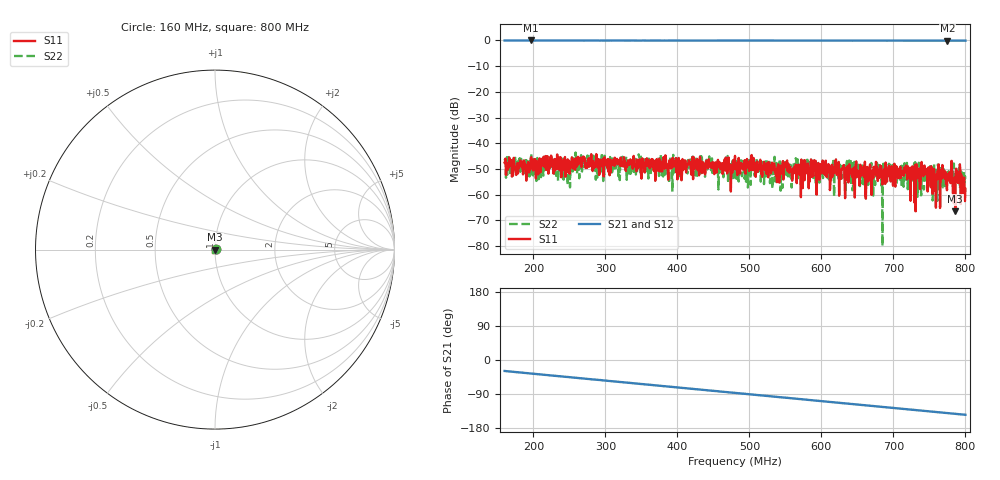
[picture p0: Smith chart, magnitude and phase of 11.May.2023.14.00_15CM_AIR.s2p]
!Keysight Technologies N9950B: A.12.38
!Date: Thursday, 11 May 2023 14:01:40
!Timezone: (UTC-06:00) Central Time (US & Canada)
!Model: N9950B
!Serial: MY61131330
!GPS Latitude:
!GPS Longitude:
!GPS TimeStamp: 0001-01-01 00:00:00Z
!GPS Seconds Since Last Read: 0
!CHECKSUM:0283810886
!Correction: S11(ON U)S21(ON U)S12(ON U)S22(ON U)
!S2P File: Measurements:S11,S21,S12,S22:
# Hz S DB R 50
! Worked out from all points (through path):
!   1001 points, 160 MHz to 800 MHz, reference 50 ohm
!   highest |S21| = -0.01 dB at 196.5 MHz (marker M1); lowest = -0.1 dB at 775 MHz (marker M2)
!   group delay of S21, straight-line fit = 501 ps
!   lowest |S11| = -66.5 dB at 785.9 MHz (marker M3), VSWR 1.00, Z = 50 - j0.00743 ohm
!   |S11| at or under -10 dB: start of sweep to end of sweep
!   |S22| runs from -80.0 to -43.6 dB; largest |S21 - S12| = 0.0056
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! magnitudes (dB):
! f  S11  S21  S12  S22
! 160 MHz  -47.5  0.0  0.0  -46.7
! 196.5 MHz  -45.8  0.0  0.0  -45.3
! 266.9 MHz  -49.3  0.0  -0.1  -51.4
! 373.8 MHz  -47.0  -0.1  -0.1  -45.5
! 442.9 MHz  -49.7  0.0  -0.1  -48.2
! 480 MHz  -44.9  -0.1  -0.1  -53.8
! 586.9 MHz  -46.8  -0.1  -0.1  -50.2
! 648.3 MHz  -47.0  -0.1  -0.1  -50.4
! 662.4 MHz  -53.3  -0.1  -0.1  -56.1
! 673.3 MHz  -50.1  -0.1  -0.1  -50.1
! 678.4 MHz  -54.7  -0.1  -0.1  -51.0
! 684.8 MHz  -56.0  -0.1  -0.1  -80.0
! 693.8 MHz  -48.7  -0.1  -0.1  -48.0
! 720 MHz  -49.0  -0.1  -0.1  -57.9
! 734.1 MHz  -52.8  0.0  -0.1  -53.8
! 741.8 MHz  -52.8  -0.1  -0.1  -50.5
! 753.9 MHz  -49.7  -0.1  -0.1  -51.4
! 757.8 MHz  -54.5  -0.1  -0.1  -56.1
! 775 MHz  -51.9  -0.1  -0.1  -54.4
! 785.9 MHz  -66.5  -0.1  -0.1  -51.9
! 789.8 MHz  -55.4  -0.1  -0.1  -54.5
! 800 MHz  -57.7  -0.1  -0.1  -53.8
